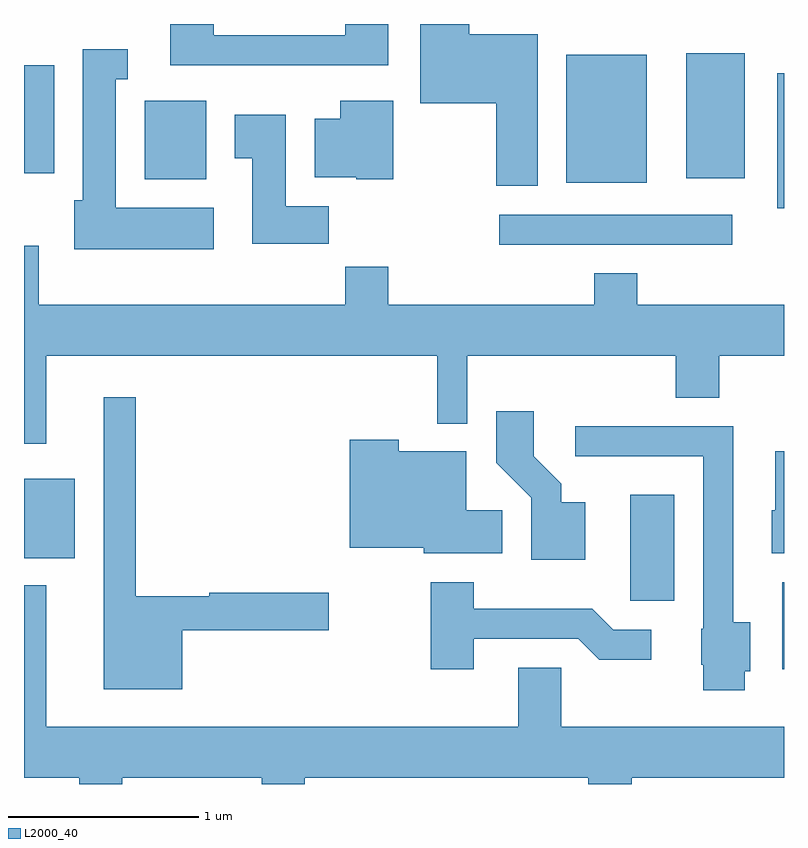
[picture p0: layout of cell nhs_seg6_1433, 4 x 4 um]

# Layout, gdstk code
import gdstk
lib = gdstk.Library(unit=1e-6, precision=1e-09)
def R(c, l, rs):  # rectangles x0, y0, x1, y1
    for r in rs: c.add(gdstk.rectangle(r[:2], r[2:], *l))
def P(c, l, *ps):  # polygons
    for p in ps: c.add(gdstk.Polygon(p, *l))
L2000_40 = (2000, 40)

nhs_seg6_1433 = lib.new_cell('nhs_seg6_1433')
R(nhs_seg6_1433, L2000_40, [(231.601,1612.766,231.611,1613.224), (230.801,1613.126,231.034,1613.684), (227.611,1613.351,227.879,1613.769), (230.113,1615.001,231.338,1615.159), (231.576,1615.191,231.611,1615.904), (230.466,1615.326,230.889,1615.999), (228.246,1615.346,228.569,1615.759), (231.096,1615.351,231.404,1616.009), (227.611,1615.376,227.769,1615.944), (230.861,1616.161,231.611,1616.162)])
P(nhs_seg6_1433, L2000_40, [(230.314,1616.109),(229.954,1616.109),(229.954,1616.162),(229.696,1616.162),(229.696,1615.746),(230.096,1615.746),(230.096,1615.311),(230.314,1615.311)],
  [(229.529,1616.162),(229.301,1616.162),(229.301,1616.104),(228.609,1616.104),(228.609,1616.162),(228.381,1616.162),(228.381,1615.946),(229.529,1615.946)],
  [(228.609,1615.194),(228.094,1615.194),(228.094,1615.871),(228.158,1615.871),(228.158,1616.029),(227.921,1616.029),(227.921,1615.234),(227.876,1615.234),(227.876,1614.976),(228.609,1614.976)],
  [(229.554,1615.759),(229.276,1615.759),(229.276,1615.664),(229.141,1615.664),(229.141,1615.356),(229.36,1615.356),(229.36,1615.346),(229.554,1615.346)],
  [(229.214,1615.204),(228.989,1615.204),(228.989,1615.684),(228.721,1615.684),(228.721,1615.456),(228.811,1615.456),(228.811,1615.006),(229.214,1615.006)],
  [(227.729,1614.416),(229.786,1614.416),(229.786,1614.058),(229.944,1614.058),(229.944,1614.416),(231.041,1614.416),(231.041,1614.196),(231.269,1614.196),(231.269,1614.416),(231.611,1614.416),(231.611,1614.684),(230.839,1614.684),(230.839,1614.849),(230.611,1614.849),(230.611,1614.684),(229.529,1614.684),(229.529,1614.884),(229.301,1614.884),(229.301,1614.684),(227.689,1614.684),(227.689,1614.994),(227.611,1614.994),(227.611,1613.953),(227.729,1613.953)],
  [(228.444,1612.971),(229.214,1612.971),(229.214,1613.169),(228.586,1613.169),(228.586,1613.149),(228.199,1613.149),(228.199,1614.198),(228.031,1614.198),(228.031,1612.661),(228.444,1612.661)],
  [(230.564,1613.644),(230.439,1613.644),(230.439,1613.742),(230.294,1613.887),(230.294,1614.124),(230.096,1614.124),(230.096,1613.854),(230.281,1613.669),(230.281,1613.341),(230.564,1613.341)],
  [(231.404,1612.756),(231.434,1612.756),(231.434,1613.014),(231.344,1613.014),(231.344,1614.044),(230.513,1614.044),(230.513,1613.886),(231.186,1613.886),(231.186,1612.98),(231.176,1612.98),(231.176,1612.79),(231.186,1612.79),(231.186,1612.656),(231.404,1612.656)],
  [(230.129,1613.604),(229.939,1613.604),(229.939,1613.914),(229.584,1613.914),(229.584,1613.974),(229.326,1613.974),(229.326,1613.406),(229.716,1613.406),(229.716,1613.376),(230.129,1613.376)],
  [(231.611,1613.914),(231.566,1613.914),(231.566,1613.604),(231.546,1613.604),(231.546,1613.376),(231.611,1613.376)],
  [(229.979,1612.926),(230.529,1612.926),(230.639,1612.816),(230.913,1612.816),(230.913,1612.974),(230.712,1612.974),(230.602,1613.084),(229.979,1613.084),(229.979,1613.224),(229.751,1613.224),(229.751,1612.766),(229.979,1612.766)],
  [(228.129,1612.196),(228.861,1612.196),(228.861,1612.162),(229.089,1612.162),(229.089,1612.196),(230.581,1612.196),(230.581,1612.162),(230.809,1612.162),(230.809,1612.196),(231.611,1612.196),(231.611,1612.464),(230.439,1612.464),(230.439,1612.774),(230.211,1612.774),(230.211,1612.464),(227.729,1612.464),(227.729,1613.208),(227.611,1613.208),(227.611,1612.196),(227.901,1612.196),(227.901,1612.162),(228.129,1612.162)])

lib.write_gds('nhs_seg6_1433.gds')
